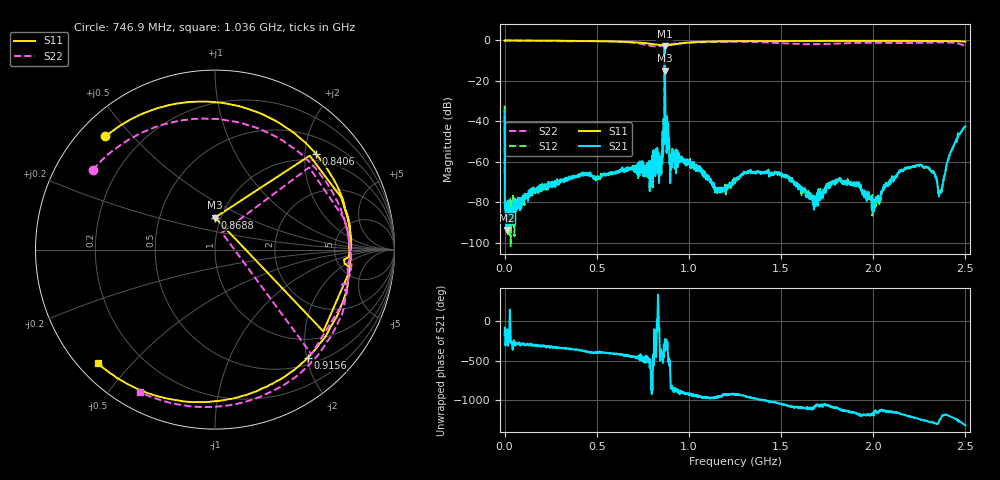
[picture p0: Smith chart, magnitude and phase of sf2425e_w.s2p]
!Keysight Technologies,E5080A,MY55200989,A.11.70.00
!Date: Tuesday, December 06, 2016 22:27:12
!Correction: S11(Full 2 Port(1,2))
!S21(Full 2 Port(1,2))
!S12(Full 2 Port(1,2))
!S22(Full 2 Port(1,2))
!S2P File: Measurements: S11, S21, S12, S22:
# Hz S  dB  R 50
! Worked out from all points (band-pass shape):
!   1601 points, 9 kHz to 2.5 GHz, reference 50 ohm
!   highest |S21| = -2.84 dB at 868.8 MHz (marker M1); lowest = -93.6 dB at 10.95 MHz (marker M2)
!   |S21| within 3 dB of the highest: 868.6353 MHz to 869.0314 MHz (396.1 kHz wide, 0.0456 % of centre)
!   lowest |S11| = -15.0 dB at 868.8 MHz (marker M3), VSWR 1.44, Z = 46.9 + j17.3 ohm
!   |S11| at or under -10 dB: 868.1378 MHz to 869.3815 MHz (1.244 MHz wide, 0.143 % of centre)
!   |S22| runs from -19.9 to 0.0 dB; largest |S21 - S12| = 0.0062
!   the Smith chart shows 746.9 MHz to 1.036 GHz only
!   S11 on the Smith chart (normalised r, x): 746.9 MHz: 0.08, +0.42; 840.6 MHz: 0.85, +2.25; 868.8 MHz: 0.94, +0.35; 915.6 MHz: 0.62, -2.02; 1.036 GHz: 0.05, -0.40
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9000  -0.12 -0.0  -34.69 -179.6  -32.16 -179.7  -0.11 -0.1
1.094646e7  -0.00 -2.2  -93.62 126.1  -89.96 -153.6  0.00 -2.9
8.43837e7  -0.03 -16.9  -83.91 49.5  -80.76 67.0  -0.07 -22.3
4.17195e8  -0.26 -94.9  -66.78 -14.2  -65.78 -14.5  -0.33 -102.6
6.234443e8  -0.56 -163.4  -64.60 -61.8  -64.85 -63.3  -0.57 -154.2
7.468813e8  -1.14 134.1  -65.17 -98.6  -66.19 -98.9  -1.78 146.9
8.34381e8  -2.16 51.6  -55.27 178.8  -55.24 178.7  -2.88 43.8
8.40631e8  -2.22 43.3  -58.40 116.2  -58.00 113.3  -2.84 33.9
8.687559e8  -14.96 89.9  -2.84 -20.9  -2.85 -20.9  -19.86 67.7
9.156307e8  -2.00 -49.5  -54.16 -133.9  -54.03 -133.8  -1.59 -53.5
1.035943e9  -0.82 -135.9  -61.84 136.0  -61.50 127.8  -0.94 -117.7
1.154692e9  -0.47 -172.8  -75.40 135.1  -74.09 124.1  -0.71 -148.3
1.250004e9  -0.37 169.1  -69.84 153.9  -70.04 158.1  -0.63 -167.2
1.479691e9  -0.24 143.1  -65.34 48.8  -66.30 47.8  -1.23 150.2
1.66719e9  -0.20 130.3  -77.91 -17.7  -76.68 -8.3  -1.86 109.7
1.814065e9  -0.19 123.2  -68.67 -31.6  -68.29 -39.3  -1.52 74.2
2.010939e9  -0.17 116.0  -78.84 -53.4  -79.16 -68.1  -1.13 22.5
2.084376e9  -0.18 113.8  -70.68 -56.1  -69.96 -54.2  -1.20 4.5
2.253126e9  -0.20 109.5  -61.60 -158.5  -61.55 -156.4  -1.14 -31.1
2.364063e9  -0.24 106.6  -75.56 -155.9  -74.24 -153.6  -0.95 -51.3
2.420313e9  -0.30 105.1  -55.14 -126.3  -55.25 -127.1  -1.06 -61.7
2.5e9  -0.55 103.0  -42.44 124.3  -42.62 124.6  -2.87 -74.9
